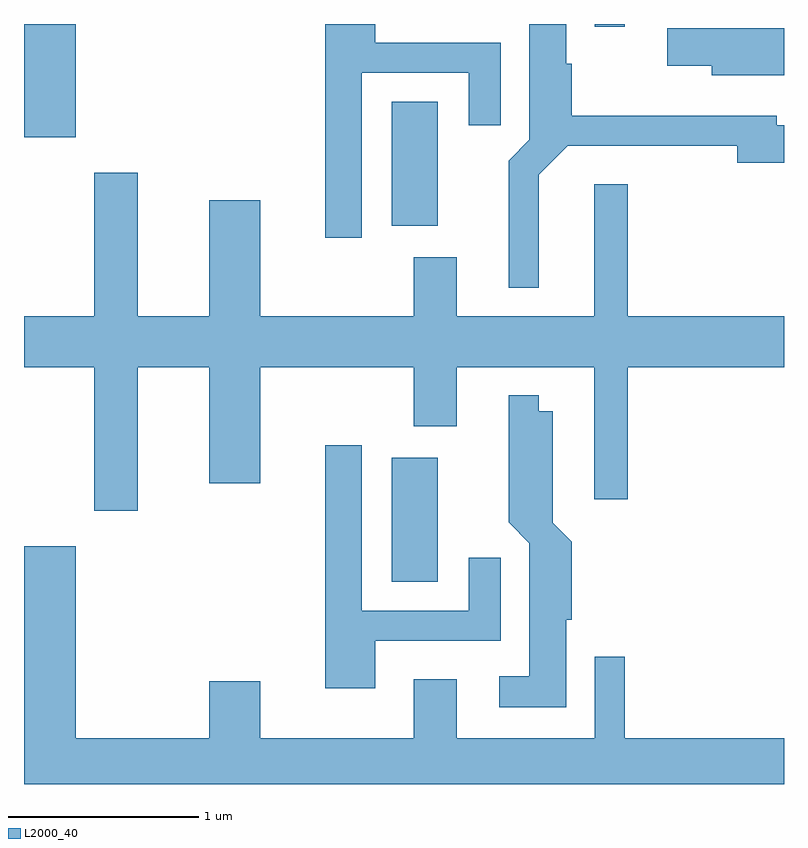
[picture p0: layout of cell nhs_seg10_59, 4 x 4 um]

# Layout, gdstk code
import gdstk
lib = gdstk.Library(unit=1e-6, precision=1e-09)
def R(c, l, rs):  # rectangles x0, y0, x1, y1
    for r in rs: c.add(gdstk.rectangle(r[:2], r[2:], *l))
def P(c, l, *ps):  # polygons
    for p in ps: c.add(gdstk.Polygon(p, *l))
L2000_40 = (2000, 40)

nhs_seg10_59 = lib.new_cell('nhs_seg10_59')
R(nhs_seg10_59, L2000_40, [(187.546,2201.586,187.789,2202.239), (187.546,2203.461,187.789,2204.114), (185.611,2203.926,185.884,2204.522), (188.616,2204.508,188.774,2204.522)])
P(nhs_seg10_59, L2000_40, [(187.389,2204.266),(187.951,2204.266),(187.951,2203.988),(188.119,2203.988),(188.119,2204.424),(187.459,2204.424),(187.459,2204.522),(187.196,2204.522),(187.196,2203.396),(187.389,2203.396)],
  [(188.319,2203.729),(188.472,2203.881),(189.366,2203.881),(189.366,2203.791),(189.611,2203.791),(189.611,2203.989),(189.574,2203.989),(189.574,2204.039),(188.494,2204.039),(188.494,2204.314),(188.464,2204.314),(188.464,2204.522),(188.271,2204.522),(188.271,2203.912),(188.161,2203.802),(188.161,2203.133),(188.319,2203.133)],
  [(189.611,2204.499),(188.996,2204.499),(188.996,2204.301),(189.231,2204.301),(189.231,2204.251),(189.611,2204.251)],
  [(186.209,2202.716),(186.586,2202.716),(186.586,2202.106),(186.854,2202.106),(186.854,2202.716),(187.661,2202.716),(187.661,2202.406),(187.889,2202.406),(187.889,2202.716),(188.611,2202.716),(188.611,2202.021),(188.789,2202.021),(188.789,2202.716),(189.611,2202.716),(189.611,2202.984),(188.789,2202.984),(188.789,2203.679),(188.611,2203.679),(188.611,2202.984),(187.889,2202.984),(187.889,2203.294),(187.661,2203.294),(187.661,2202.984),(186.854,2202.984),(186.854,2203.594),(186.586,2203.594),(186.586,2202.984),(186.209,2202.984),(186.209,2203.739),(185.981,2203.739),(185.981,2202.984),(185.611,2202.984),(185.611,2202.716),(185.981,2202.716),(185.981,2201.961),(186.209,2201.961)],
  [(188.464,2201.386),(188.494,2201.386),(188.494,2201.797),(188.394,2201.897),(188.394,2202.484),(188.319,2202.484),(188.319,2202.568),(188.161,2202.568),(188.161,2201.899),(188.271,2201.789),(188.271,2201.089),(188.113,2201.089),(188.113,2200.926),(188.464,2200.926)],
  [(187.459,2201.276),(188.119,2201.276),(188.119,2201.713),(187.951,2201.713),(187.951,2201.434),(187.389,2201.434),(187.389,2202.304),(187.196,2202.304),(187.196,2201.026),(187.459,2201.026)],
  [(189.611,2200.764),(188.774,2200.764),(188.774,2201.193),(188.616,2201.193),(188.616,2200.764),(187.889,2200.764),(187.889,2201.074),(187.661,2201.074),(187.661,2200.764),(186.854,2200.764),(186.854,2201.064),(186.586,2201.064),(186.586,2200.764),(185.884,2200.764),(185.884,2201.774),(185.611,2201.774),(185.611,2200.522),(189.611,2200.522)])

lib.write_gds('nhs_seg10_59.gds')
